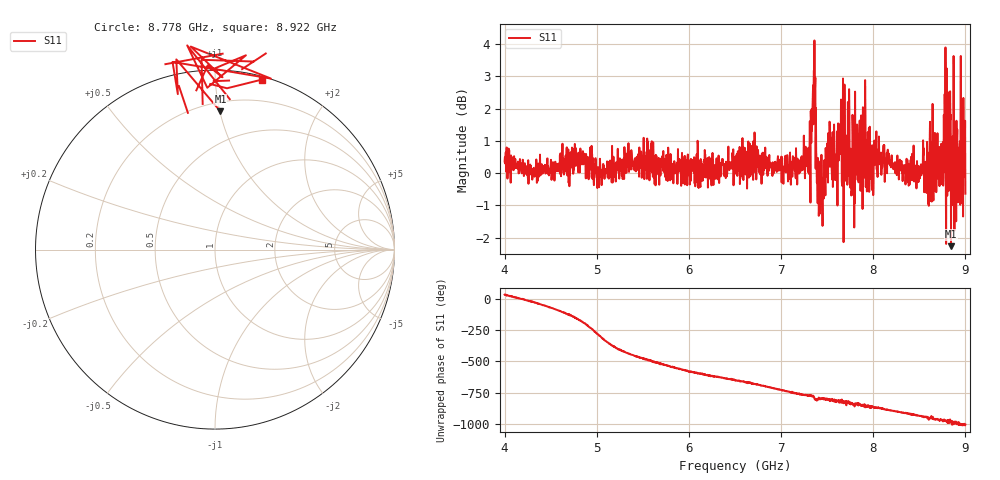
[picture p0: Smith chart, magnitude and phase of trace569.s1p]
! Created with skrf 1.8.0 (http://scikit-rf.org).
# Hz S RI R 50.0
!freq ReS11 ImS11
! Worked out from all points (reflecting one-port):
!   1601 points, 4 GHz to 9 GHz, reference 50 ohm
!   lowest |S11| = -2.3 dB at 8.844 GHz (marker M1), VSWR 7.72, Z = 13.2 + j50.2 ohm
!   phase of S11 starts at 35 deg and turns -1041 deg over the sweep
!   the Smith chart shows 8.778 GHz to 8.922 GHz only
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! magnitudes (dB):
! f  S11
! 4 GHz  0.4
! 4.625 GHz  0.5
! 5.25 GHz  0.5
! 5.875 GHz  -0.3
! 6.5 GHz  0.2
! 7.125 GHz  0.4
! 7.294 GHz  0.0
! 7.347 GHz  2.7
! 7.378 GHz  2.0
! 7.4 GHz  0.5
! 7.431 GHz  -0.3
! 7.519 GHz  0.2
! 7.588 GHz  0.6
! 7.65 GHz  2.3
! 7.75 GHz  0.3
! 7.769 GHz  -0.6
! 7.8 GHz  -0.9
! 7.891 GHz  0.4
! 7.981 GHz  -0.2
! 8.038 GHz  0.1
! 8.375 GHz  -0.2
! 8.584 GHz  1.0
! 8.738 GHz  0.9
! 8.8 GHz  1.5
! 8.844 GHz  -2.3
! 8.9 GHz  -1.5
! 8.972 GHz  0.3
! 9 GHz  -0.6
